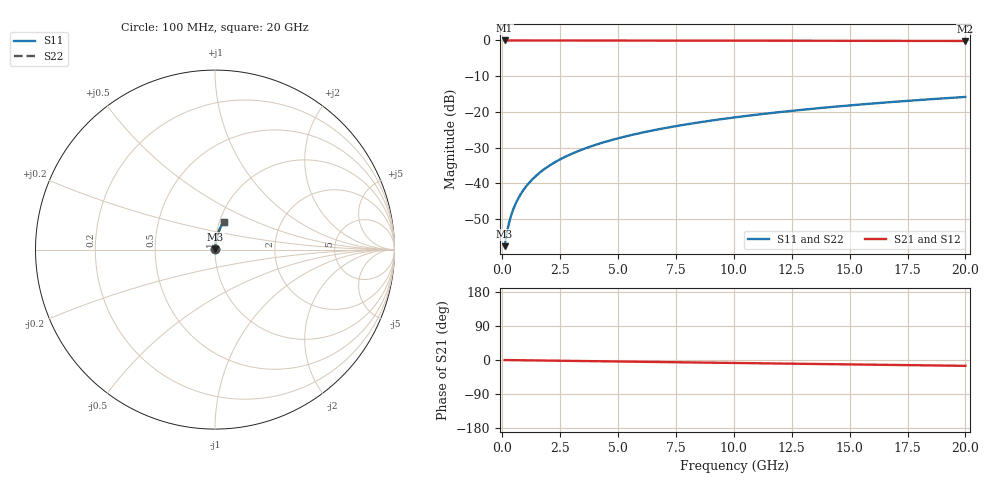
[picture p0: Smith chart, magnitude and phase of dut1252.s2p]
! Touchstone file exported from HFSS 2026.1.0
!  File:  C:/ffzhzh/LocalFiles/Ansys_Project_Files/temp_train_TMRDL_1252_1783163843_51560.aedt
!  Generated:  07:18:38 PM Jul  4, 2026
!  Design:  TMRDL
!  Project:  temp_train_TMRDL_1252_1783163843_51560
! Variables:
!  h_bsmrdl = 2um
!  h_ox = 20um
!  h_rdl = 5um
!  h_sub = 80um
!  h_tmrdl = 5.3um
!  h_tsv = 80um
!  h_via = 3um
!  l_bsmrdl = 300um
!  l_sub = 592.79um
!  l_tmrdl = 192.79um
!  m_sub = 200um
!  pitch = 41.2um
!  r_tsv = 6um
!  s_tmrdl = 10um
!  w_bsmrdl = 18um
!  w_sub = 500um
!  w_tmrdl = 15.46um
!  x_tsv_center1 = 200.52um
!  x_tsv_center2 = 518.52um
!  x_tsv_center3 = 726.77um
!  x_tsv_center4 = 1044.77um
!  x_tsv_center5 = 1253.02um
!  x_tsv_center6 = 1571.02um
# GHz S MA R 50.000000
! Terminal data exported
! Port[1] = TM_RDL1_1_T1
! Port[2] = TM_RDL1_1_T2
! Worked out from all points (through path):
!   200 points, 100 MHz to 20 GHz, reference 50 ohm
!   highest |S21| = -0.01 dB at 100 MHz (marker M1); lowest = -0.2 dB at 20 GHz (marker M2)
!   group delay of S21, straight-line fit = 2.13 ps
!   lowest |S11| = -57.5 dB at 100 MHz (marker M3), VSWR 1.00, Z = 50.1 + j0.0924 ohm
!   |S11| at or under -10 dB: start of sweep to end of sweep
!   |S22| runs from -57.5 to -15.8 dB; largest |S21 - S12| = 7.3e-15
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0.1  0.001327 44.1  0.999 -0.1  0.999 -0.1  0.001327 44.1
! Gamma 0 0 0 0
! Port Impedance 50 0 50 0
0.2  0.002073 61.3  0.999 -0.2  0.999 -0.2  0.002073 61.3
0.3  0.002887 69.0  0.999 -0.2  0.999 -0.2  0.002887 69.0
0.4  0.003719 73.3  0.9989 -0.3  0.9989 -0.3  0.003719 73.3
0.5  0.004561 76.0  0.9989 -0.4  0.9989 -0.4  0.004561 76.0
0.6  0.00541 77.9  0.9989 -0.5  0.9989 -0.5  0.00541 77.9
0.8  0.00712 80.3  0.9988 -0.6  0.9988 -0.6  0.00712 80.3
1.1  0.009701 82.2  0.9988 -0.9  0.9988 -0.9  0.009701 82.2
1.5  0.01315 83.4  0.9987 -1.2  0.9987 -1.2  0.01315 83.4
1.8  0.01573 83.8  0.9986 -1.4  0.9986 -1.4  0.01573 83.8
2.1  0.01831 84.0  0.9984 -1.7  0.9984 -1.7  0.01831 84.0
2.7  0.02344 84.1  0.9982 -2.2  0.9982 -2.2  0.02344 84.1
3.5  0.03022 83.8  0.9978 -2.8  0.9978 -2.8  0.03022 83.8
4.2  0.0361 83.5  0.9974 -3.3  0.9974 -3.3  0.0361 83.5
5  0.04277 83.1  0.9969 -4.0  0.9969 -4.0  0.04277 83.1
5.9  0.05021 82.5  0.9963 -4.7  0.9963 -4.7  0.05021 82.5
6.8  0.05761 82.0  0.9956 -5.4  0.9956 -5.4  0.05761 82.0
8.3  0.06984 81.0  0.9945 -6.5  0.9945 -6.5  0.06984 81.0
10.1  0.08441 79.8  0.9931 -7.9  0.9931 -7.9  0.08441 79.8
13.4  0.1108 77.6  0.9899 -10.4  0.9899 -10.4  0.1108 77.6
16.7  0.1367 75.3  0.9863 -12.9  0.9863 -12.9  0.1367 75.3
20  0.1621 72.9  0.982 -15.4  0.982 -15.4  0.1621 72.9
